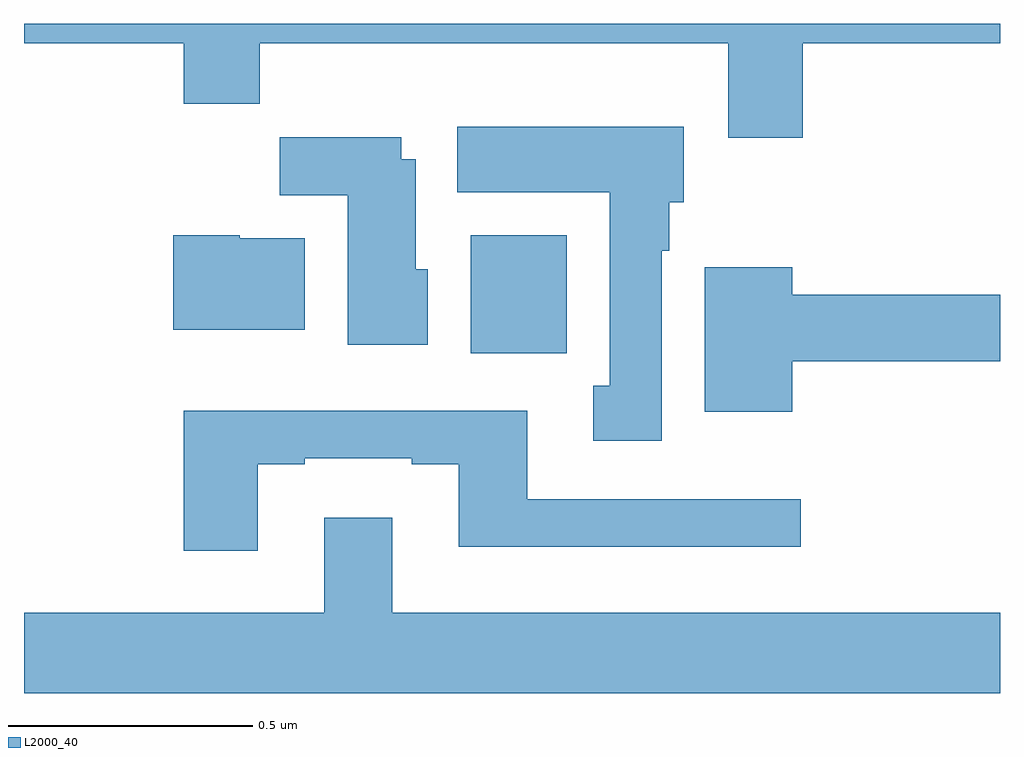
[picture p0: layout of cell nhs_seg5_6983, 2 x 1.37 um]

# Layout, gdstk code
import gdstk
lib = gdstk.Library(unit=1e-6, precision=1e-09)
def R(c, l, rs):  # rectangles x0, y0, x1, y1
    for r in rs: c.add(gdstk.rectangle(r[:2], r[2:], *l))
def P(c, l, *ps):  # polygons
    for p in ps: c.add(gdstk.Polygon(p, *l))
L2000_40 = (2000, 40)

nhs_seg5_6983 = lib.new_cell('nhs_seg5_6983')
R(nhs_seg5_6983, L2000_40, [(203.915,856.124,204.112,856.366)])
P(nhs_seg5_6983, L2000_40, [(203,856.76),(203.327,856.76),(203.327,856.636),(203.483,856.636),(203.483,856.76),(204.443,856.76),(204.443,856.566),(204.596,856.566),(204.596,856.76),(205,856.76),(205,856.799),(203,856.799)],
  [(204.307,856.334),(204.322,856.334),(204.322,856.434),(204.352,856.434),(204.352,856.588),(203.888,856.588),(203.888,856.454),(204.2,856.454),(204.2,856.058),(204.167,856.058),(204.167,855.945),(204.307,855.945)],
  [(203.827,856.296),(203.803,856.296),(203.803,856.522),(203.773,856.522),(203.773,856.567),(203.524,856.567),(203.524,856.448),(203.663,856.448),(203.663,856.142),(203.827,856.142)],
  [(203.575,856.36),(203.442,856.36),(203.442,856.366),(203.306,856.366),(203.306,856.172),(203.575,856.172)],
  [(204.574,856.108),(205,856.108),(205,856.244),(204.574,856.244),(204.574,856.3),(204.395,856.3),(204.395,856.004),(204.574,856.004)],
  [(203.479,855.897),(203.575,855.897),(203.575,855.909),(203.795,855.909),(203.795,855.897),(203.891,855.897),(203.891,855.728),(204.592,855.728),(204.592,855.825),(204.031,855.825),(204.031,856.006),(203.327,856.006),(203.327,855.72),(203.479,855.72)],
  [(205,855.592),(203.755,855.592),(203.755,855.787),(203.615,855.787),(203.615,855.592),(203,855.592),(203,855.428),(205,855.428)])

lib.write_gds('nhs_seg5_6983.gds')
